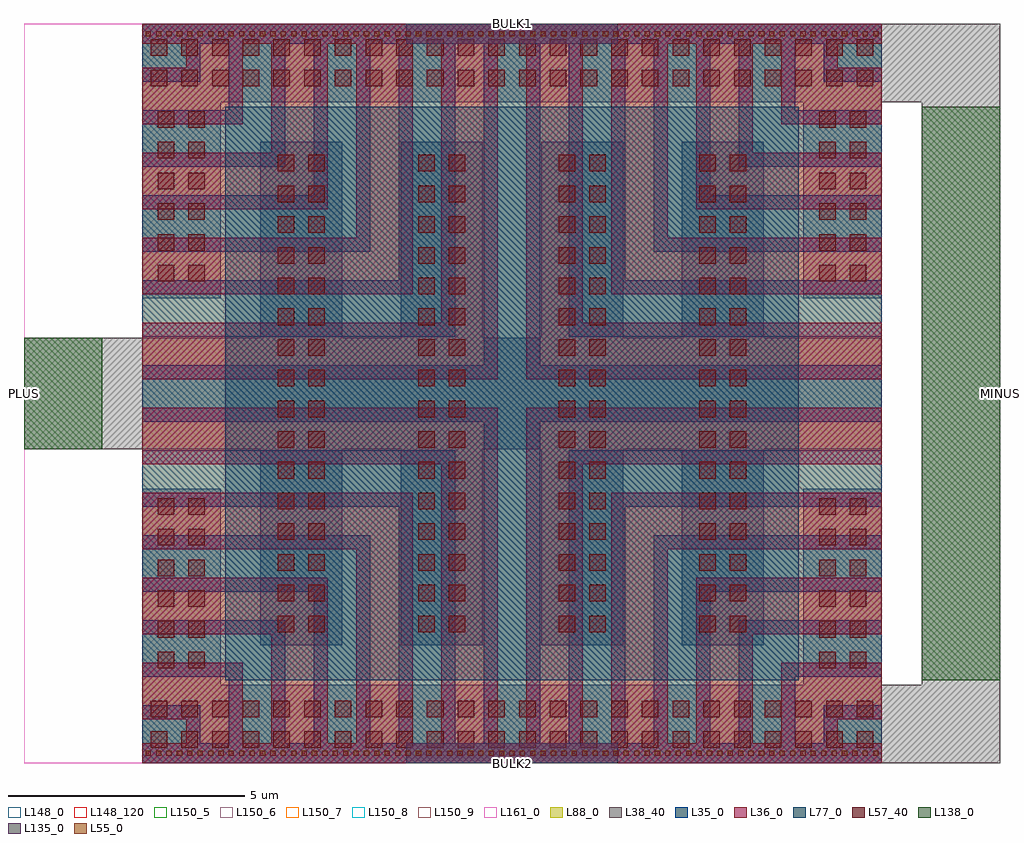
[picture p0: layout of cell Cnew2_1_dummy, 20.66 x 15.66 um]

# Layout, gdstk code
import gdstk
lib = gdstk.Library(unit=1e-6, precision=1e-09)
def R(c, l, rs):  # rectangles x0, y0, x1, y1
    for r in rs: c.add(gdstk.rectangle(r[:2], r[2:], *l))
def A(c, l, x, y, w, h, nx, ny, dx, dy):  # array of equal rectangles
    R(c, l, [(x+i*dx, y+j*dy, x+i*dx+w, y+j*dy+h) for i in range(nx) for j in range(ny)])
def P(c, l, *ps):  # polygons
    for p in ps: c.add(gdstk.Polygon(p, *l))
L35_0 = (35, 0)
L36_0 = (36, 0)
L38_40 = (38, 40)
L55_0 = (55, 0)
L57_40 = (57, 40)
L77_0 = (77, 0)
L88_0 = (88, 0)
L135_0 = (135, 0)
L138_0 = (138, 0)
L148_0 = (148, 0)
L148_120 = (148, 120)
L150_5 = (150, 5)
L150_6 = (150, 6)
L150_7 = (150, 7)
L150_8 = (150, 8)
L150_9 = (150, 9)
L161_0 = (161, 0)

cnew2_1_dummy = lib.new_cell('Cnew2_1_dummy')
R(cnew2_1_dummy, L35_0, [(-1.76,-1.76,13.9,-1.33), (-1.73,-1.76,-0.53,-1.13), (0.07,-1.76,1.27,0.67), (1.87,-1.76,3.07,2.47), (3.67,-1.76,4.87,4.27), (5.47,-1.76,6.67,13.9), (7.27,-1.76,8.47,4.27), (9.07,-1.76,10.27,2.47), (10.87,-1.76,12.07,0.67), (12.67,-1.76,13.87,-1.13), (-1.76,-1.73,-0.53,-0.53), (12.67,-1.73,13.9,-0.53), (-1.76,0.07,1.27,1.27), (10.87,0.07,13.9,1.27), (-1.76,1.87,3.07,3.07), (9.07,1.87,13.9,3.07), (-1.76,3.67,4.87,4.87), (7.27,3.67,13.9,4.87), (-1.76,5.47,13.9,6.67), (-1.76,7.27,4.87,8.47), (7.27,7.27,13.9,8.47), (3.67,7.87,4.87,13.9), (7.27,7.87,8.47,13.9), (-1.76,9.07,3.07,10.27), (9.07,9.07,13.9,10.27), (1.87,9.67,3.07,13.9), (9.07,9.67,10.27,13.9), (-1.76,10.87,1.27,12.07), (10.87,10.87,13.9,12.07), (0.07,11.47,1.27,13.9), (10.87,11.47,12.07,13.9), (-1.76,12.67,-0.53,13.87), (12.67,12.67,13.9,13.87), (-1.73,13.27,-0.53,13.9), (12.67,13.27,13.87,13.9), (-1.76,13.47,13.9,13.9)])
R(cnew2_1_dummy, L36_0, [(-1.76,-1.76,13.9,-1.33), (-0.83,-1.76,0.37,-0.23), (0.97,-1.76,2.17,1.57), (2.77,-1.76,3.97,3.37), (4.57,-1.76,5.77,5.17), (6.37,-1.76,7.57,5.17), (8.17,-1.76,9.37,3.37), (9.97,-1.76,11.17,1.57), (11.77,-1.76,12.97,-0.23), (-1.76,-0.83,0.37,0.37), (11.77,-0.83,13.9,0.37), (-1.76,0.97,2.17,2.17), (9.97,0.97,13.9,2.17), (-1.76,2.77,3.97,3.97), (8.17,2.77,13.9,3.97), (-1.76,4.57,5.77,5.77), (6.37,4.57,13.9,5.77), (-1.76,6.37,5.77,7.57), (6.37,6.37,13.9,7.57), (4.57,6.97,5.77,13.9), (6.37,6.97,7.57,13.9), (-1.76,8.17,3.97,9.37), (8.17,8.17,13.9,9.37), (2.77,8.77,3.97,13.9), (8.17,8.77,9.37,13.9), (-1.76,9.97,2.17,11.17), (9.97,9.97,13.9,11.17), (0.97,10.57,2.17,13.9), (9.97,10.57,11.17,13.9), (-1.76,11.77,0.37,12.97), (11.77,11.77,13.9,12.97), (-0.83,12.37,0.37,13.9), (11.77,12.37,12.97,13.9), (-1.76,13.47,13.9,13.9)])
R(cnew2_1_dummy, L38_40, [(13.9,-1.76,16.4,-0.1), (14.74,-1.76,16.4,13.9), (0.74,0.74,2.48,4.89), (3.713,0.74,5.453,4.89), (6.687,0.74,8.427,4.89), (9.66,0.74,11.4,4.89), (-4.26,4.89,13.9,7.25), (0.74,7.25,2.48,11.4), (0.74,7.25,2.48,11.4), (3.713,7.25,5.453,11.4), (3.713,7.25,5.453,11.4), (6.687,7.25,8.427,11.4), (6.687,7.25,8.427,11.4), (9.66,7.25,11.4,11.4), (9.66,7.25,11.4,11.4), (13.9,12.24,16.4,13.9)])
P(cnew2_1_dummy, L38_40, [(-0.1,12.24),(12.24,12.24),(12.24,8.09),(13.9,8.09),(13.9,13.9),(-1.76,13.9),(-1.76,8.09),(-0.1,8.09)],
  [(-1.76,4.05),(-1.76,-1.76),(13.9,-1.76),(13.9,4.05),(12.24,4.05),(12.24,-0.1),(-0.1,-0.1),(-0.1,4.05)])
A(cnew2_1_dummy, L55_0, -1.685, -1.6, 0.11, 0.11, 71, 2, 0.22, 15.23)
A(cnew2_1_dummy, L57_40, -1.58, -1.43, 0.35, 0.35, 24, 2, 0.65, 0.65)
A(cnew2_1_dummy, L57_40, -1.43, 0.255, 0.35, 0.35, 1, 6, 0, 0.65)
A(cnew2_1_dummy, L57_40, -0.78, 0.255, 0.35, 0.35, 1, 6, 0, 0.65)
A(cnew2_1_dummy, L57_40, 12.57, 0.255, 0.35, 0.35, 1, 6, 0, 0.65)
A(cnew2_1_dummy, L57_40, 13.22, 0.255, 0.35, 0.35, 1, 6, 0, 0.65)
A(cnew2_1_dummy, L57_40, 1.11, 1.02, 0.35, 0.35, 1, 16, 0, 0.65)
A(cnew2_1_dummy, L57_40, 1.76, 1.02, 0.35, 0.35, 1, 16, 0, 0.65)
A(cnew2_1_dummy, L57_40, 4.083, 1.02, 0.35, 0.35, 1, 16, 0, 0.65)
A(cnew2_1_dummy, L57_40, 4.733, 1.02, 0.35, 0.35, 1, 16, 0, 0.65)
A(cnew2_1_dummy, L57_40, 7.057, 1.02, 0.35, 0.35, 1, 16, 0, 0.65)
A(cnew2_1_dummy, L57_40, 7.707, 1.02, 0.35, 0.35, 1, 16, 0, 0.65)
A(cnew2_1_dummy, L57_40, 10.03, 1.02, 0.35, 0.35, 1, 16, 0, 0.65)
A(cnew2_1_dummy, L57_40, 10.68, 1.02, 0.35, 0.35, 1, 16, 0, 0.65)
A(cnew2_1_dummy, L57_40, -1.43, 8.445, 0.35, 0.35, 1, 6, 0, 0.65)
A(cnew2_1_dummy, L57_40, -0.78, 8.445, 0.35, 0.35, 1, 6, 0, 0.65)
A(cnew2_1_dummy, L57_40, 12.57, 8.445, 0.35, 0.35, 1, 6, 0, 0.65)
A(cnew2_1_dummy, L57_40, 13.22, 8.445, 0.35, 0.35, 1, 6, 0, 0.65)
A(cnew2_1_dummy, L57_40, -1.58, 12.57, 0.35, 0.35, 24, 2, 0.65, 0.65)
R(cnew2_1_dummy, L77_0, [(0,0,12.14,12.14)])
R(cnew2_1_dummy, L88_0, [(-1.76,-1.76,13.9,13.9)])
R(cnew2_1_dummy, L135_0, [(3.832,-1.76,8.308,-1.33), (3.832,13.47,8.308,13.9)])
R(cnew2_1_dummy, L138_0, [(14.74,0,16.4,12.14), (-4.26,4.89,-2.6,7.25)])
R(cnew2_1_dummy, L148_0, [(-4.26,-1.76,16.4,13.9)])
R(cnew2_1_dummy, L148_120, [(-4.26,-1.76,16.4,13.9)])
R(cnew2_1_dummy, L150_5, [(-4.26,-1.76,16.4,13.9)])
R(cnew2_1_dummy, L150_6, [(-4.26,-1.76,16.4,13.9)])
R(cnew2_1_dummy, L150_7, [(-4.26,-1.76,16.4,13.9)])
R(cnew2_1_dummy, L150_8, [(-4.26,-1.76,16.4,13.9)])
R(cnew2_1_dummy, L150_9, [(-4.26,-1.76,16.4,13.9)])
R(cnew2_1_dummy, L161_0, [(-4.26,-1.76,16.4,13.9)])
cnew2_1_dummy.add(gdstk.Label('BULK1', (6.07,13.9), layer=135, texttype=0))
cnew2_1_dummy.add(gdstk.Label('BULK2', (6.07,-1.76), layer=135, texttype=0))
cnew2_1_dummy.add(gdstk.Label('PLUS', (-4.26,6.07), layer=138, texttype=0))
cnew2_1_dummy.add(gdstk.Label('MINUS', (16.4,6.07), layer=138, texttype=0))

lib.write_gds('Cnew2_1_dummy.gds')
